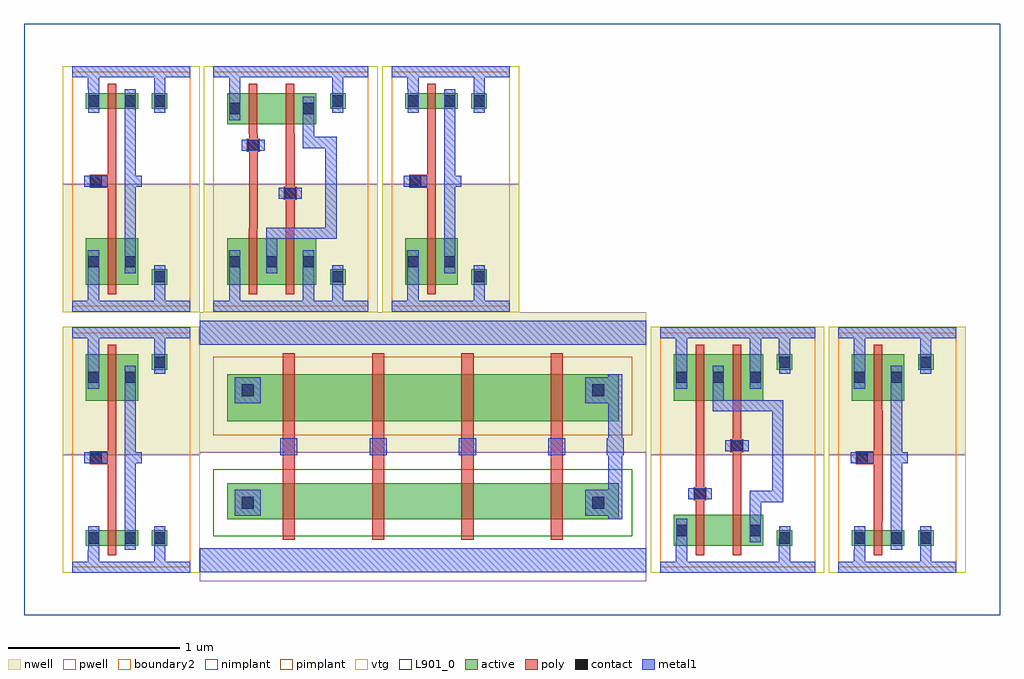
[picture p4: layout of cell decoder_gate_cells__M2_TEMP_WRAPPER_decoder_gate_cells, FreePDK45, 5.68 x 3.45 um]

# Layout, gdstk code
import gdstk
lib = gdstk.Library(unit=1e-6, precision=1e-09)
def R(c, l, rs):  # rectangles x0, y0, x1, y1
    for r in rs: c.add(gdstk.rectangle(r[:2], r[2:], *l))
def A(c, l, x, y, w, h, nx, ny, dx, dy):  # array of equal rectangles
    R(c, l, [(x+i*dx, y+j*dy, x+i*dx+w, y+j*dy+h) for i in range(nx) for j in range(ny)])
active = (1, 0)
pwell = (2, 0)
nwell = (3, 0)
nimplant = (4, 0)
pimplant = (5, 0)
vtg = (6, 0)
poly = (9, 0)
contact = (10, 0)
metal1 = (11, 0)
boundary2 = (239, 0)
L901_0 = (901, 0)

decoder_gate_cells__deco = lib.new_cell('decoder_gate_cells__decoder_gate_cells__sram_1rw_32x16_freepdk45_contact_11')
R(decoder_gate_cells__deco, active, [(0,0.022,0.09,0.112)])
R(decoder_gate_cells__deco, nwell, [(-0.055,-0.033,0.145,0.168)])
R(decoder_gate_cells__deco, pimplant, [(0,0.022,0.09,0.112)])
R(decoder_gate_cells__deco, contact, [(0.013,0.035,0.077,0.1)])
R(decoder_gate_cells__deco, metal1, [(0.013,0,0.077,0.135)])
R(decoder_gate_cells__deco, boundary2, [(-0.055,-0.033,0.145,0.168)])

c_decoder_gate_cells__deco = lib.new_cell('decoder_gate_cells__decoder_gate_cells__sram_1rw_32x16_freepdk45_pmos_m1_w0_270_sm1_dm1_da_p')
R(c_decoder_gate_cells__deco, active, [(0,0,0.305,0.27)])
R(c_decoder_gate_cells__deco, nwell, [(-0.08,-0.08,0.385,0.35)])
R(c_decoder_gate_cells__deco, pimplant, [(0,0,0.305,0.27)])
R(c_decoder_gate_cells__deco, vtg, [(-0.08,-0.08,0.385,0.35)])
R(c_decoder_gate_cells__deco, poly, [(0.127,-0.055,0.177,0.325), (0.127,-0.055,0.177,0.325)])
R(c_decoder_gate_cells__deco, metal1, [(0.013,0.068,0.077,0.203), (0.227,0.068,0.292,0.203)])
R(c_decoder_gate_cells__deco, boundary2, [(-0.08,-0.08,0.385,0.35)])
c_decoder_gate_cells__deco.add(gdstk.Reference(decoder_gate_cells__deco, (0,0.068)))
c_decoder_gate_cells__deco.add(gdstk.Reference(decoder_gate_cells__deco, (0.215,0.068)))
c_decoder_gate_cells__deco.add(gdstk.Label('G', (0.152,0.135), layer=9, texttype=0))
c_decoder_gate_cells__deco.add(gdstk.Label('S', (0.045,0.135), layer=11, texttype=0))
c_decoder_gate_cells__deco.add(gdstk.Label('D', (0.26,0.135), layer=11, texttype=0))

c_decoder_gate_cells__deco_ = lib.new_cell('decoder_gate_cells__decoder_gate_cells__sram_1rw_32x16_freepdk45_contact_10')
R(c_decoder_gate_cells__deco_, active, [(0,0.022,0.09,0.112)])
R(c_decoder_gate_cells__deco_, pwell, [(-0.055,-0.033,0.145,0.168)])
R(c_decoder_gate_cells__deco_, nimplant, [(0,0.022,0.09,0.112)])
R(c_decoder_gate_cells__deco_, contact, [(0.013,0.035,0.077,0.1)])
R(c_decoder_gate_cells__deco_, metal1, [(0.013,0,0.077,0.135)])
R(c_decoder_gate_cells__deco_, boundary2, [(-0.055,-0.033,0.145,0.168)])

c_decoder_gate_cells__deco__ = lib.new_cell('decoder_gate_cells__decoder_gate_cells__sram_1rw_32x16_freepdk45_nmos_m1_w0_090_sm1_dm1_da_p')
R(c_decoder_gate_cells__deco__, active, [(0,0,0.305,0.09)])
R(c_decoder_gate_cells__deco__, pwell, [(-0.08,-0.08,0.385,0.17)])
R(c_decoder_gate_cells__deco__, nimplant, [(0,0,0.305,0.09)])
R(c_decoder_gate_cells__deco__, vtg, [(-0.08,-0.08,0.385,0.17)])
R(c_decoder_gate_cells__deco__, poly, [(0.127,-0.055,0.177,0.145), (0.127,-0.055,0.177,0.145)])
R(c_decoder_gate_cells__deco__, metal1, [(0.013,-0.022,0.077,0.112), (0.227,-0.022,0.292,0.112)])
R(c_decoder_gate_cells__deco__, boundary2, [(-0.08,-0.08,0.385,0.17)])
c_decoder_gate_cells__deco__.add(gdstk.Reference(c_decoder_gate_cells__deco_, (0,-0.022)))
c_decoder_gate_cells__deco__.add(gdstk.Reference(c_decoder_gate_cells__deco_, (0.215,-0.022)))
c_decoder_gate_cells__deco__.add(gdstk.Label('G', (0.152,0.045), layer=9, texttype=0))
c_decoder_gate_cells__deco__.add(gdstk.Label('S', (0.045,0.045), layer=11, texttype=0))
c_decoder_gate_cells__deco__.add(gdstk.Label('D', (0.26,0.045), layer=11, texttype=0))

c_decoder_gate_cells__deco___ = lib.new_cell('decoder_gate_cells__decoder_gate_cells__sram_1rw_32x16_freepdk45_contact_12')
R(c_decoder_gate_cells__deco___, active, [(0,0.022,0.09,0.112)])
R(c_decoder_gate_cells__deco___, nwell, [(-0.055,-0.033,0.145,0.168)])
R(c_decoder_gate_cells__deco___, nimplant, [(0,0.022,0.09,0.112)])
R(c_decoder_gate_cells__deco___, contact, [(0.013,0.035,0.077,0.1)])
R(c_decoder_gate_cells__deco___, metal1, [(0.013,0,0.077,0.135)])
R(c_decoder_gate_cells__deco___, boundary2, [(-0.055,-0.033,0.145,0.168)])

c_decoder_gate_cells__deco____ = lib.new_cell('decoder_gate_cells__decoder_gate_cells__sram_1rw_32x16_freepdk45_contact_13')
R(c_decoder_gate_cells__deco____, active, [(0,0.022,0.09,0.112)])
R(c_decoder_gate_cells__deco____, pwell, [(-0.055,-0.033,0.145,0.168)])
R(c_decoder_gate_cells__deco____, pimplant, [(0,0.022,0.09,0.112)])
R(c_decoder_gate_cells__deco____, contact, [(0.013,0.035,0.077,0.1)])
R(c_decoder_gate_cells__deco____, metal1, [(0.013,0,0.077,0.135)])
R(c_decoder_gate_cells__deco____, boundary2, [(-0.055,-0.033,0.145,0.168)])

c_decoder_gate_cells__deco_____ = lib.new_cell('decoder_gate_cells__decoder_gate_cells__sram_1rw_32x16_freepdk45_contact_14')
R(c_decoder_gate_cells__deco_____, poly, [(0.03,0,0.105,0.075)])
R(c_decoder_gate_cells__deco_____, contact, [(0.035,0.005,0.1,0.07)])
R(c_decoder_gate_cells__deco_____, metal1, [(0,0.005,0.135,0.07)])
R(c_decoder_gate_cells__deco_____, boundary2, [(0,0,0.135,0.075)])

c_decoder_gate_cells__deco______ = lib.new_cell('decoder_gate_cells__decoder_gate_cells__gen_inv')
R(c_decoder_gate_cells__deco______, pwell, [(-0.055,-0.033,0.743,0.655)])
R(c_decoder_gate_cells__deco______, nwell, [(-0.055,0.655,0.743,1.4)])
R(c_decoder_gate_cells__deco______, vtg, [(-0.055,-0.033,0.743,0.655), (-0.055,0.655,0.743,1.4)])
R(c_decoder_gate_cells__deco______, poly, [(0.208,0.27,0.258,0.915), (0.14,0.6,0.208,0.675)])
R(c_decoder_gate_cells__deco______, metal1, [(0,-0.033,0.687,0.033), (0.092,-0.033,0.157,0.103), (0.478,0,0.542,0.17), (0.307,0.103,0.372,1.173), (0.072,0.605,0.208,0.67), (0.34,0.605,0.405,0.67), (0.092,1.038,0.157,1.397), (0.478,1.195,0.542,1.365), (0,1.332,0.687,1.397)])
R(c_decoder_gate_cells__deco______, boundary2, [(0,0,0.687,1.365), (0,0,0.687,1.365)])
c_decoder_gate_cells__deco______.add(gdstk.Reference(c_decoder_gate_cells__deco, (0.08,0.97)))
c_decoder_gate_cells__deco______.add(gdstk.Reference(c_decoder_gate_cells__deco__, (0.08,0.125)))
c_decoder_gate_cells__deco______.add(gdstk.Reference(c_decoder_gate_cells__deco___, (0.465,1.127)))
c_decoder_gate_cells__deco______.add(gdstk.Reference(c_decoder_gate_cells__deco____, (0.465,0.103)))
c_decoder_gate_cells__deco______.add(gdstk.Reference(c_decoder_gate_cells__deco_____, (0.072,0.6)))
c_decoder_gate_cells__deco______.add(gdstk.Label('A', (0.14,0.638), layer=11, texttype=0))
c_decoder_gate_cells__deco______.add(gdstk.Label('Z', (0.372,0.638), layer=11, texttype=0))
c_decoder_gate_cells__deco______.add(gdstk.Label('gnd', (0.345,0), layer=11, texttype=0))
c_decoder_gate_cells__deco______.add(gdstk.Label('vdd', (0.345,1.365), layer=11, texttype=0))

c_decoder_gate_cells__deco_______ = lib.new_cell('decoder_gate_cells__decoder_gate_cells__gen_nand4')
R(c_decoder_gate_cells__deco_______, active, [(0.16,0.36,2.44,0.57), (0.16,0.93,2.44,1.205)])
R(c_decoder_gate_cells__deco_______, pwell, [(0,0,2.6,0.75)])
R(c_decoder_gate_cells__deco_______, nwell, [(0,0.75,2.6,1.565)])
R(c_decoder_gate_cells__deco_______, nimplant, [(0.08,0.26,2.52,0.65)])
R(c_decoder_gate_cells__deco_______, pimplant, [(0.08,0.85,2.52,1.305)])
A(c_decoder_gate_cells__deco_______, poly, 0.485, 0.24, 0.07, 1.085, 4, 1, 0.52, 0)
R(c_decoder_gate_cells__deco_______, contact, [(0.245,0.42,0.315,0.49), (2.285,0.42,2.355,0.49), (0.245,1.075,0.315,1.145), (2.285,1.075,2.355,1.145)])
A(c_decoder_gate_cells__deco_______, metal1, 0.47, 0.733, 0.1, 0.099, 4, 1, 0.52, 0)
R(c_decoder_gate_cells__deco_______, metal1, [(0,0.05,2.6,0.19), (1.25,0.07,1.35,0.17), (2.38,0.36,2.46,1.205), (0.205,0.38,0.355,0.53), (2.245,0.38,2.395,0.53), (2.37,0.733,2.47,0.832), (0.205,1.035,0.355,1.185), (2.245,1.035,2.395,1.185), (0,1.375,2.6,1.515), (1.25,1.395,1.35,1.495)])

c_decoder_gate_cells__deco________ = lib.new_cell('decoder_gate_cells__decoder_gate_cells__sram_1rw_32x16_freepdk45_contact_11__gen_nand2')
R(c_decoder_gate_cells__deco________, active, [(0,0.022,0.09,0.112)])
R(c_decoder_gate_cells__deco________, nwell, [(-0.055,-0.033,0.145,0.168)])
R(c_decoder_gate_cells__deco________, pimplant, [(0,0.022,0.09,0.112)])
R(c_decoder_gate_cells__deco________, contact, [(0.013,0.035,0.077,0.1)])
R(c_decoder_gate_cells__deco________, metal1, [(0.013,0,0.077,0.135)])
R(c_decoder_gate_cells__deco________, boundary2, [(-0.055,-0.033,0.145,0.168)])

c_decoder_gate_cells__deco_________ = lib.new_cell('decoder_gate_cells__decoder_gate_cells__sram_1rw_32x16_freepdk45_pmos_m1_w0_270_sm1_dm1')
R(c_decoder_gate_cells__deco_________, active, [(0,0,0.305,0.27)])
R(c_decoder_gate_cells__deco_________, nwell, [(-0.08,-0.08,0.385,0.35)])
R(c_decoder_gate_cells__deco_________, pimplant, [(0,0,0.305,0.27)])
R(c_decoder_gate_cells__deco_________, vtg, [(-0.08,-0.08,0.385,0.35)])
R(c_decoder_gate_cells__deco_________, poly, [(0.127,-0.055,0.177,0.325), (0.127,-0.055,0.177,0.325)])
R(c_decoder_gate_cells__deco_________, metal1, [(0.013,0.068,0.077,0.203), (0.227,0.068,0.292,0.203)])
R(c_decoder_gate_cells__deco_________, boundary2, [(-0.08,-0.08,0.385,0.35)])
c_decoder_gate_cells__deco_________.add(gdstk.Reference(c_decoder_gate_cells__deco________, (0,0.068)))
c_decoder_gate_cells__deco_________.add(gdstk.Reference(c_decoder_gate_cells__deco________, (0.215,0.068)))
c_decoder_gate_cells__deco_________.add(gdstk.Label('G', (0.152,0.135), layer=9, texttype=0))
c_decoder_gate_cells__deco_________.add(gdstk.Label('S', (0.045,0.135), layer=11, texttype=0))
c_decoder_gate_cells__deco_________.add(gdstk.Label('D', (0.26,0.135), layer=11, texttype=0))

c_decoder_gate_cells__deco__________ = lib.new_cell('decoder_gate_cells__decoder_gate_cells__sram_1rw_32x16_freepdk45_contact_10__gen_nand2')
R(c_decoder_gate_cells__deco__________, active, [(0,0.022,0.09,0.112)])
R(c_decoder_gate_cells__deco__________, pwell, [(-0.055,-0.033,0.145,0.168)])
R(c_decoder_gate_cells__deco__________, nimplant, [(0,0.022,0.09,0.112)])
R(c_decoder_gate_cells__deco__________, contact, [(0.013,0.035,0.077,0.1)])
R(c_decoder_gate_cells__deco__________, metal1, [(0.013,0,0.077,0.135)])
R(c_decoder_gate_cells__deco__________, boundary2, [(-0.055,-0.033,0.145,0.168)])

c_decoder_gate_cells__deco___________ = lib.new_cell('decoder_gate_cells__decoder_gate_cells__sram_1rw_32x16_freepdk45_nmos_m1_w0_180_sm1_dactive')
R(c_decoder_gate_cells__deco___________, active, [(0,0,0.305,0.18), (0.215,0.045,0.305,0.135)])
R(c_decoder_gate_cells__deco___________, pwell, [(-0.08,-0.08,0.385,0.26)])
R(c_decoder_gate_cells__deco___________, nimplant, [(0,0,0.305,0.18)])
R(c_decoder_gate_cells__deco___________, vtg, [(-0.08,-0.08,0.385,0.26)])
R(c_decoder_gate_cells__deco___________, poly, [(0.127,-0.055,0.177,0.235), (0.127,-0.055,0.177,0.235)])
R(c_decoder_gate_cells__deco___________, metal1, [(0.013,0.022,0.077,0.157)])
R(c_decoder_gate_cells__deco___________, boundary2, [(-0.08,-0.08,0.385,0.26)])
c_decoder_gate_cells__deco___________.add(gdstk.Reference(c_decoder_gate_cells__deco__________, (0,0.022)))
c_decoder_gate_cells__deco___________.add(gdstk.Label('G', (0.152,0.09), layer=9, texttype=0))
c_decoder_gate_cells__deco___________.add(gdstk.Label('S', (0.045,0.09), layer=11, texttype=0))
c_decoder_gate_cells__deco___________.add(gdstk.Label('D', (0.26,0.09), layer=1, texttype=0))

c_decoder_gate_cells__deco____________ = lib.new_cell('decoder_gate_cells__decoder_gate_cells__sram_1rw_32x16_freepdk45_nmos_m1_w0_180_sactive_dm1')
R(c_decoder_gate_cells__deco____________, active, [(0,0,0.305,0.18), (0,0.045,0.09,0.135)])
R(c_decoder_gate_cells__deco____________, pwell, [(-0.08,-0.08,0.385,0.26)])
R(c_decoder_gate_cells__deco____________, nimplant, [(0,0,0.305,0.18)])
R(c_decoder_gate_cells__deco____________, vtg, [(-0.08,-0.08,0.385,0.26)])
R(c_decoder_gate_cells__deco____________, poly, [(0.127,-0.055,0.177,0.235), (0.127,-0.055,0.177,0.235)])
R(c_decoder_gate_cells__deco____________, metal1, [(0.227,0.022,0.292,0.157)])
R(c_decoder_gate_cells__deco____________, boundary2, [(-0.08,-0.08,0.385,0.26)])
c_decoder_gate_cells__deco____________.add(gdstk.Reference(c_decoder_gate_cells__deco__________, (0.215,0.022)))
c_decoder_gate_cells__deco____________.add(gdstk.Label('G', (0.152,0.09), layer=9, texttype=0))
c_decoder_gate_cells__deco____________.add(gdstk.Label('S', (0.045,0.09), layer=1, texttype=0))
c_decoder_gate_cells__deco____________.add(gdstk.Label('D', (0.26,0.09), layer=11, texttype=0))

c_decoder_gate_cells__deco_____________ = lib.new_cell('decoder_gate_cells__decoder_gate_cells__gen_nand2')
R(c_decoder_gate_cells__deco_____________, pwell, [(-0.055,-0.033,0.957,0.655)])
R(c_decoder_gate_cells__deco_____________, nwell, [(-0.055,0.655,0.957,1.4)])
R(c_decoder_gate_cells__deco_____________, vtg, [(-0.055,-0.033,0.957,0.655), (-0.055,0.655,0.957,1.4)])
R(c_decoder_gate_cells__deco_____________, poly, [(0.208,0.36,0.258,0.915), (0.422,0.36,0.473,0.915), (0.208,0.39,0.232,0.465), (0.422,0.67,0.447,0.745)])
R(c_decoder_gate_cells__deco_____________, metal1, [(0,-0.033,0.902,0.033), (0.092,-0.033,0.157,0.147), (0.692,0,0.758,0.17), (0.522,0.283,0.588,0.413), (0.522,0.38,0.588,0.445), (0.555,0.38,0.685,0.445), (0.652,0.38,0.718,0.445), (0.165,0.395,0.3,0.46), (0.652,0.413,0.718,0.94), (0.38,0.675,0.515,0.74), (0.307,0.907,0.372,0.972), (0.34,0.907,0.685,0.972), (0.652,0.907,0.718,0.972), (0.307,0.94,0.372,1.038), (0.092,1.038,0.157,1.397), (0.522,1.038,0.588,1.397), (0.692,1.195,0.758,1.365), (0,1.332,0.902,1.397)])
R(c_decoder_gate_cells__deco_____________, boundary2, [(0,0,0.902,1.365), (0,0,0.902,1.365)])
c_decoder_gate_cells__deco_____________.add(gdstk.Reference(c_decoder_gate_cells__deco_________, (0.08,0.97)))
c_decoder_gate_cells__deco_____________.add(gdstk.Reference(c_decoder_gate_cells__deco_________, (0.295,0.97)))
c_decoder_gate_cells__deco_____________.add(gdstk.Reference(c_decoder_gate_cells__deco___________, (0.08,0.125)))
c_decoder_gate_cells__deco_____________.add(gdstk.Reference(c_decoder_gate_cells__deco____________, (0.295,0.125)))
c_decoder_gate_cells__deco_____________.add(gdstk.Reference(c_decoder_gate_cells__deco___, (0.68,1.127)))
c_decoder_gate_cells__deco_____________.add(gdstk.Reference(c_decoder_gate_cells__deco____, (0.68,0.103)))
c_decoder_gate_cells__deco_____________.add(gdstk.Reference(c_decoder_gate_cells__deco_____, (0.165,0.39)))
c_decoder_gate_cells__deco_____________.add(gdstk.Reference(c_decoder_gate_cells__deco_____, (0.38,0.67)))
c_decoder_gate_cells__deco_____________.add(gdstk.Label('Z', (0.685,0.94), layer=11, texttype=0))
c_decoder_gate_cells__deco_____________.add(gdstk.Label('gnd', (0.45,0), layer=11, texttype=0))
c_decoder_gate_cells__deco_____________.add(gdstk.Label('vdd', (0.45,1.365), layer=11, texttype=0))
c_decoder_gate_cells__deco_____________.add(gdstk.Label('A', (0.232,0.427), layer=11, texttype=0))
c_decoder_gate_cells__deco_____________.add(gdstk.Label('B', (0.447,0.707), layer=11, texttype=0))

c_decoder_gate_cells__deco______________ = lib.new_cell('decoder_gate_cells__decoder_gate_cells__decoder_gate_cells')
c_decoder_gate_cells__deco______________.add(gdstk.Reference(c_decoder_gate_cells__deco______, (0.08,0.08)))
c_decoder_gate_cells__deco______________.add(gdstk.Reference(c_decoder_gate_cells__deco_______, (0.822,0)))
c_decoder_gate_cells__deco______________.add(gdstk.Reference(c_decoder_gate_cells__deco_____________, (3.503,0.08)))
c_decoder_gate_cells__deco______________.add(gdstk.Reference(c_decoder_gate_cells__deco______, (4.54,0.08)))
c_decoder_gate_cells__deco______________.add(gdstk.Reference(c_decoder_gate_cells__deco______, (0.08,2.965), x_reflection=True))
c_decoder_gate_cells__deco______________.add(gdstk.Reference(c_decoder_gate_cells__deco_____________, (0.902,2.965), x_reflection=True))
c_decoder_gate_cells__deco______________.add(gdstk.Reference(c_decoder_gate_cells__deco______, (1.94,2.965), x_reflection=True))

decoder_gate_cells__m2_t = lib.new_cell('decoder_gate_cells__M2_TEMP_WRAPPER_decoder_gate_cells')
R(decoder_gate_cells__m2_t, L901_0, [(-0.2,-0.2,5.482,3.245)])
decoder_gate_cells__m2_t.add(gdstk.Reference(c_decoder_gate_cells__deco______________, (0,0)))
decoder_gate_cells__m2_t.add(gdstk.Label('TEMP_WRAPPER_FOR_M2_REVIEW', (0,3.545), layer=900, texttype=0))
decoder_gate_cells__m2_t.add(gdstk.Label('decoder_gate_cells candidate composite', (0,4.145), layer=900, texttype=0))

lib.write_gds('decoder_gate_cells__M2_TEMP_WRAPPER_decoder_gate_cells.gds')
